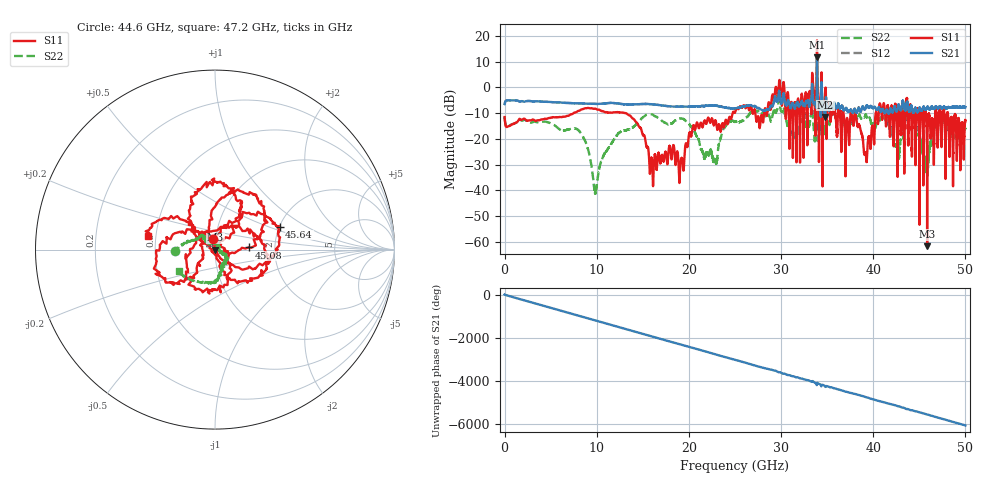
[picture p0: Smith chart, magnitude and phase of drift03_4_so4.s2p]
!Created with skrf (http://scikit-rf.org).
# Hz S RI R 50.0
!freq ReS11 ImS11 ReS21 ImS21 ReS12 ImS12 ReS22 ImS22
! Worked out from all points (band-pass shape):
!   10001 points, 300 kHz to 50 GHz, reference 50 ohm
!   highest |S21| = 11.69 dB at 33.9 GHz (marker M1); lowest = -11.5 dB at 34.8 GHz (marker M2)
!   |S21| within 3 dB of the highest: 33.88902 GHz to 33.90765 GHz (18.63 MHz wide, 0.055 % of centre)
!   lowest |S11| = -61.6 dB at 45.85 GHz (marker M3), VSWR 1.00, Z = 50.1 + j0.00372 ohm
!   |S11| at or under -10 dB: start of sweep to 7.489 GHz; 13.13 GHz to 24.74 GHz (11.62 GHz wide, 61.3 % of centre); 38.06 GHz to 40.27 GHz (2.21 GHz wide, 5.64 % of centre) (the widest 3 of 59)
!   |S22| runs from -41.3 to 3.9 dB; largest |S21 - S12| = 0.3
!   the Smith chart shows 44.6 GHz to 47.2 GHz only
!   S11 on the Smith chart (normalised r, x): 44.6 GHz: 0.97, +0.12; 45.08 GHz: 1.46, +0.04; 45.64 GHz: 2.01, +0.60; 47.2 GHz: 0.45, +0.08
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300000  -0.2384 -0.1145  0.4671 0.0746  0.4663 0.0759  -0.2377 -0.1211
1.440291e9  0.2098 0.0645  -0.548 -0.0289  -0.5478 -0.029  0.211 -0.00471
2.915283e9  -0.2115 -0.0878  0.534 0.0513  0.5346 0.051  -0.2028 0.04
4.415274e9  0.2065 0.1318  -0.5219 -0.0413  -0.5218 -0.0413  0.1972 -0.0874
8.33525e9  0.288 -0.2339  0.1476 0.4654  0.1475 0.4652  -0.0736 -0.1002
9.860241e9  -0.3597 0.1379  -0.1623 -0.4469  -0.1626 -0.4468  0.00858 0.00222
1.66702e10  0.028 0.0447  -0.377 0.2552  -0.3772 0.2551  -0.1258 -0.2178
2.500015e10  -0.3254 -0.0125  -0.2557 -0.2948  -0.2555 -0.2961  -0.2134 0.0267
2.895513e10  -0.3198 0.4349  -0.286 0.3283  -0.2964 0.2929  0.0637 0.2196
3.006512e10  0.3941 0.2598  0.4462 -0.1996  0.449 -0.1866  0.1704 -0.2998
3.171011e10  -0.0852 0.1919  -0.3548 0.3569  -0.357 0.3575  0.0657 0.1582
3.33351e10  0.5645 -0.8054  0.2279 -0.818  0.2291 -0.8025  -0.1958 -0.4053
3.39001e10  2.915 -7.333  -3.491 -1.599  -3.408 -1.349  -0.5433 1.467
3.479509e10  -0.7334 0.1074  0.0036 0.265  0.0154 0.3279  0.1051 -0.1397
3.916007e10  0.0439 0.0285  0.2195 -0.3271  0.2273 -0.3214  -0.2579 -0.1333
4.167005e10  -0.1785 0.3035  0.3116 0.00671  0.3137 0.0109  -0.1903 -0.00223
4.460003e10  -0.00963 0.0618  0.3869 0.0379  0.3876 0.0384  -0.2246 -0.00968
4.507503e10  0.1881 0.0121  0.2773 -0.2675  0.2796 -0.2677  -0.0622 0.075
4.564003e10  0.3604 0.1285  -0.1589 -0.3372  -0.1522 -0.3404  0.000979 0.0348
4.585002e10  0.000829 3.72e-05  -0.3412 -0.2285  -0.3411 -0.2307  0.0197 0.012
4.720002e10  -0.3731 0.0736  0.2841 0.3164  0.285 0.3129  -0.2002 -0.1219
5e10  -0.1308 -0.1915  0.1519 0.3844  0.1488 0.3813  -0.0557 -0.1443
